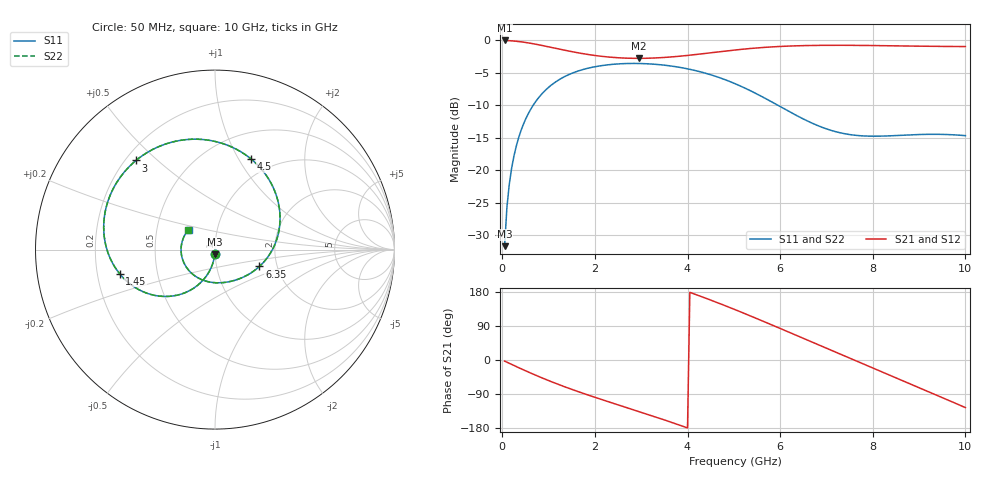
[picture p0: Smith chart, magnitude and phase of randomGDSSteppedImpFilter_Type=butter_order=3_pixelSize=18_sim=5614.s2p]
! freq	dB(S11)	phase(S11)	dB(S12)	phase(S12)
!  dB(S21)	phase(S21)	dB(S22)	phase(S22)
!S-par simulation data
#  GHz  S  DB  R 50
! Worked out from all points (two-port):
!   200 points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, 50 MHz to 10 GHz, reference 50 ohm
!   highest |S21| = 0.00 dB at 50 MHz (marker M1); lowest = -2.8 dB at 2.95 GHz (marker M2)
!   |S21| within 3 dB of the highest: start of sweep to end of sweep
!   lowest |S11| = -31.7 dB at 50 MHz (marker M3), VSWR 1.05, Z = 49.8 - j2.59 ohm
!   |S11| at or under -10 dB: start of sweep to 666.2 MHz; 5.953 GHz to end of sweep
!   |S22| runs from -31.7 to -3.5 dB; largest |S21 - S12| = 0
!   S11 on the Smith chart (normalised r, x): 50 MHz: 1.00, -0.05; 1.45 GHz: 0.30, -0.11; 3 GHz: 0.24, +0.43; 4.5 GHz: 0.78, +1.13; 6.35 GHz: 1.62, -0.33; 10 GHz: 0.73, +0.17
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0.05  -31.70 -93.0  -0.00 -2.9  -0.00 -2.9  -31.70 -93.0
0.1  -25.70 -96.0  -0.02 -5.8  -0.02 -5.8  -25.70 -96.0
0.2  -19.75 -102.0  -0.06 -11.6  -0.06 -11.6  -19.75 -102.0
0.45  -13.02 -116.2  -0.26 -25.6  -0.26 -25.6  -13.02 -116.2
0.95  -7.54 -142.4  -0.91 -51.9  -0.91 -51.9  -7.54 -142.4
1.45  -5.22 -165.8  -1.66 -75.3  -1.66 -75.3  -5.22 -165.8
1.75  -4.47 -178.7  -2.05 -88.2  -2.05 -88.2  -4.47 -178.7
2.3  -3.74 159.0  -2.56 -110.4  -2.56 -110.4  -3.74 159.0
2.95  -3.55 133.5  -2.76 -136.0  -2.76 -136.0  -3.55 133.6
3  -3.56 131.6  -2.76 -138.0  -2.76 -138.0  -3.56 131.6
3.4  -3.74 115.6  -2.67 -154.0  -2.67 -154.0  -3.74 115.7
3.95  -4.30 92.8  -2.35 -177.1  -2.35 -177.1  -4.30 92.8
4.5  -5.29 68.5  -1.90 158.1  -1.90 158.1  -5.29 68.5
5.05  -6.74 42.8  -1.46 131.7  -1.46 131.7  -6.74 42.8
5.75  -9.20 8.7  -1.03 96.2  -1.03 96.2  -9.20 8.8
6.35  -11.55 -20.8  -0.83 65.0  -0.83 65.0  -11.55 -20.8
6.7  -12.78 -38.1  -0.77 46.7  -0.77 46.7  -12.78 -38.0
7.15  -13.96 -60.4  -0.75 23.2  -0.75 23.2  -13.96 -60.4
7.55  -14.55 -80.8  -0.76 2.3  -0.76 2.3  -14.55 -80.8
8.35  -14.71 -123.4  -0.82 -39.4  -0.82 -39.4  -14.71 -123.4
9.2  -14.47 -170.7  -0.90 -83.6  -0.90 -83.6  -14.46 -170.7
10  -14.67 143.0  -0.94 -125.6  -0.94 -125.6  -14.66 143.0
